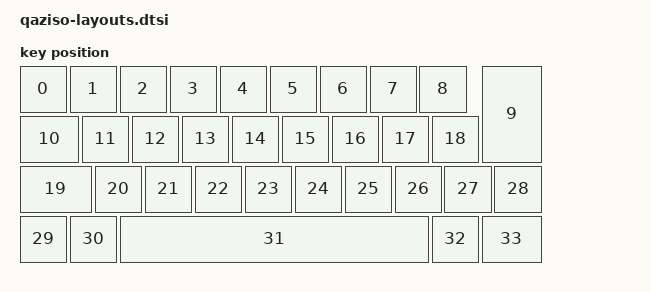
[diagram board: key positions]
#include <physical_layouts.dtsi>

/ {
    physical_layout_qaziso: physical_layout_qaziso {
        compatible = "zmk,physical-layout";
        display-name = "qaziso";
        keys  //                     w   h    x    y     rot    rx    ry
            = <&key_physical_attrs 100 100    0    0       0     0     0>
            , <&key_physical_attrs 100 100  100    0       0   100     0>
            , <&key_physical_attrs 100 100  200    0       0   200     0>
            , <&key_physical_attrs 100 100  300    0       0   300     0>
            , <&key_physical_attrs 100 100  400    0       0   400     0>
            , <&key_physical_attrs 100 100  500    0       0   500     0>
            , <&key_physical_attrs 100 100  600    0       0   600     0>
            , <&key_physical_attrs 100 100  700    0       0   700     0>
            , <&key_physical_attrs 100 100  800    0       0   800     0>
            , <&key_physical_attrs 125 200  925    0       0   925     0>
            , <&key_physical_attrs 125 100    0  100       0     0   100>
            , <&key_physical_attrs 100 100  125  100       0   125   100>
            , <&key_physical_attrs 100 100  225  100       0   225   100>
            , <&key_physical_attrs 100 100  325  100       0   325   100>
            , <&key_physical_attrs 100 100  425  100       0   425   100>
            , <&key_physical_attrs 100 100  525  100       0   525   100>
            , <&key_physical_attrs 100 100  625  100       0   625   100>
            , <&key_physical_attrs 100 100  725  100       0   725   100>
            , <&key_physical_attrs 100 100  825  100       0   825   100>
            , <&key_physical_attrs 150 100    0  200       0     0   200>
            , <&key_physical_attrs 100 100  150  200       0   150   200>
            , <&key_physical_attrs 100 100  250  200       0   250   200>
            , <&key_physical_attrs 100 100  350  200       0   350   200>
            , <&key_physical_attrs 100 100  450  200       0   450   200>
            , <&key_physical_attrs 100 100  550  200       0   550   200>
            , <&key_physical_attrs 100 100  650  200       0   650   200>
            , <&key_physical_attrs 100 100  750  200       0   750   200>
            , <&key_physical_attrs 100 100  850  200       0   850   200>
            , <&key_physical_attrs 100 100  950  200       0   950   200>
            , <&key_physical_attrs 100 100    0  300       0     0   300>
            , <&key_physical_attrs 100 100  100  300       0   100   300>
            , <&key_physical_attrs 625 100  200  300       0   200   300>
            , <&key_physical_attrs 100 100  825  300       0   825   300>
            , <&key_physical_attrs 125 100  925  300       0   925   300>
            ;
    };
};
